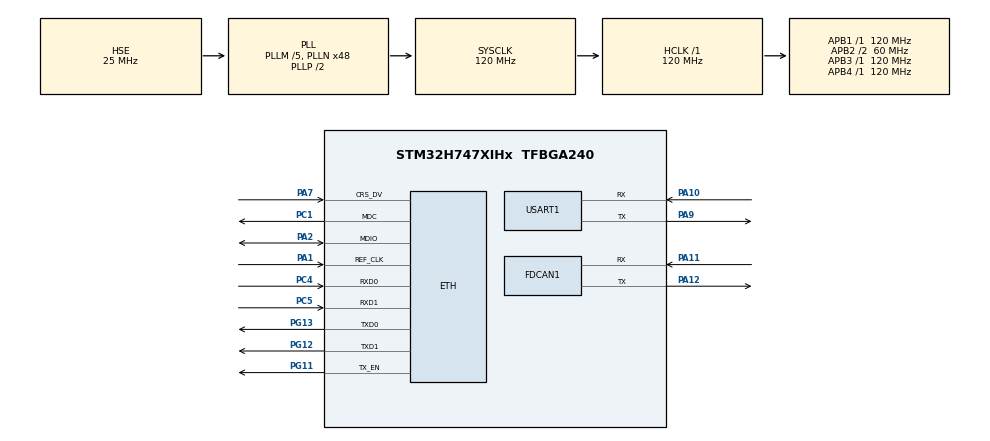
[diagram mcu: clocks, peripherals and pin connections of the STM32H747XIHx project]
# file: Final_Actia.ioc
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CortexM4.IPs=BDMA,DMA,FATFS_M4\:I,FREERTOS_M4\:I,IWDG2\:I,MDMA,NVIC2\:I,RCC,USB_DEVICE_M4\:I,USB_HOST_M4\:I,WWDG2\:I,ADC1\:I,DCMI\:I,TIM3\:I,DEBUG,PDM2PCM_M4\:I,PWR,RESMGR_UTILITY,SYS_M4\:I,CORTEX_M4\:I,OPENAMP_M4\:I,VREFBUF,GPIO
CortexM7.IPs=BDMA\:I,DMA\:I,FATFS_M7\:I,FREERTOS_M7\:I,IWDG1\:I,MDMA\:I,NVIC1\:I,RCC\:I,USB_DEVICE_M7\:I,USB_HOST_M7\:I,WWDG1\:I,CORTEX_M7\:I,DEBUG\:I,PDM2PCM_M7\:I,PWR\:I,RESMGR_UTILITY\:I,SYS\:I,OPENAMP_M7\:I,VREFBUF\:I,GPIO\:I,MEMORYMAP\:I,ETH\:I,RNG\:I,FDCAN1\:I,USART1\:I
ETH.MediaInterface=HAL_ETH_RMII_MODE
FDCAN1.AutoRetransmission=ENABLE
FDCAN1.CalculateBaudRateNominal=500000
FDCAN1.CalculateTimeBitNominal=2000
FDCAN1.CalculateTimeQuantumNominal=125.0
FDCAN1.NominalPrescaler=6
FDCAN1.NominalTimeSeg1=13
FDCAN1.NominalTimeSeg2=2
FDCAN1.RxFifo0ElmtsNbr=1
FDCAN1.StdFiltersNbr=1
FDCAN1.TxFifoQueueElmtsNbr=1
Mcu.Family=STM32H7
Mcu.Name=STM32H747XIHx
Mcu.Package=TFBGA240
NVIC1.ETH_IRQn=true\:0\:0\:false\:false\:false\:true\:true\:true
NVIC1.PriorityGroup=NVIC_PRIORITYGROUP_4
NVIC1.USART1_IRQn=true\:0\:0\:false\:false\:true\:true\:true\:true
NVIC2.PriorityGroup=NVIC_PRIORITYGROUP_4
PA1.Mode=RMII
PA1.PinAttribute=CortexM7
PA1.Signal=ETH_REF_CLK
PA10.Mode=Asynchronous
PA10.PinAttribute=CortexM7
PA10.Signal=USART1_RX
PA11.Mode=FDCAN_Activate
PA11.PinAttribute=CortexM7
PA11.Signal=FDCAN1_RX
PA12.Mode=FDCAN_Activate
PA12.PinAttribute=CortexM7
PA12.Signal=FDCAN1_TX
PA2.Mode=RMII
PA2.PinAttribute=CortexM7
PA2.Signal=ETH_MDIO
PA7.Mode=RMII
PA7.PinAttribute=CortexM7
PA7.Signal=ETH_CRS_DV
PA9.Mode=Asynchronous
PA9.PinAttribute=CortexM7
PA9.Signal=USART1_TX
PC1.Mode=RMII
PC1.PinAttribute=CortexM7
PC1.Signal=ETH_MDC
PC14-OSC32_IN\ (OSC32_IN).Mode=LSE-External-Oscillator
PC14-OSC32_IN\ (OSC32_IN).PinAttribute=Free
PC14-OSC32_IN\ (OSC32_IN).Signal=RCC_OSC32_IN
PC15-OSC32_OUT\ (OSC32_OUT).Mode=LSE-External-Oscillator
PC15-OSC32_OUT\ (OSC32_OUT).PinAttribute=Free
PC15-OSC32_OUT\ (OSC32_OUT).Signal=RCC_OSC32_OUT
PC4.Mode=RMII
PC4.PinAttribute=CortexM7
PC4.Signal=ETH_RXD0
PC5.Mode=RMII
PC5.PinAttribute=CortexM7
PC5.Signal=ETH_RXD1
PG11.Mode=RMII
PG11.PinAttribute=CortexM7
PG11.Signal=ETH_TX_EN
PG12.Mode=RMII
PG12.PinAttribute=CortexM7
PG12.Signal=ETH_TXD1
PG13.Mode=RMII
PG13.PinAttribute=CortexM7
PG13.Signal=ETH_TXD0
PH0-OSC_IN\ (PH0).Mode=HSE-External-Oscillator
PH0-OSC_IN\ (PH0).PinAttribute=Free
PH0-OSC_IN\ (PH0).Signal=RCC_OSC_IN
PH1-OSC_OUT\ (PH1).Mode=HSE-External-Oscillator
PH1-OSC_OUT\ (PH1).PinAttribute=Free
PH1-OSC_OUT\ (PH1).Signal=RCC_OSC_OUT
ProjectManager.HeapSize=M4-0x200,M7-0x200
ProjectManager.StackSize=M4-0x400,M7-0x400
ProjectManager.TargetToolchain=STM32CubeIDE
RCC.ADCFreq_Value=29296875
RCC.APB1Freq_Value=120000000
RCC.APB2Freq_Value=60000000
RCC.APB3Freq_Value=120000000
RCC.APB4Freq_Value=120000000
RCC.CortexFreq_Value=120000000
RCC.D2PPRE2=RCC_APB2_DIV2
RCC.DIVM1=5
RCC.DIVM2=4
RCC.DIVN1=48
RCC.DIVN2=9
RCC.DIVQ1=5
RCC.HCLKFreq_Value=120000000
RCC.PLL2FRACN=3072
RCC.PLLFRACN=0
RCC.PLLSourceVirtual=RCC_PLLSOURCE_HSE
RCC.PWR_Regulator_Voltage_Scale=PWR_REGULATOR_VOLTAGE_SCALE1
RCC.SYSCLKFreq_VALUE=120000000
RCC.SYSCLKSource=RCC_SYSCLKSOURCE_PLLCLK
RCC.SupplySource=PWR_DIRECT_SMPS_SUPPLY
RCC.USBFreq_Value=48000000
USART1.VirtualMode-Asynchronous=VM_ASYNC
VP_MEMORYMAP_VS_MEMORYMAP.Mode=CurAppReg
VP_RNG_VS_RNG.Mode=RNG_Activate
VP_SYS_M4_VS_Systick.Mode=SysTick
board=STM32H747I-DISCO

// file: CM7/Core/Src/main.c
/* USER CODE BEGIN Header */
/**
  ******************************************************************************
  * @file           : main.c
  * @brief          : Main program body
  ******************************************************************************
  * @attention
  *
  * Copyright (c) 2026 STMicroelectronics.
  * All rights reserved.
  *
  * This software is licensed under terms that can be found in the LICENSE file
  * in the root directory of this software component.
  * If no LICENSE file comes with this software, it is provided AS-IS.
  *
  ******************************************************************************
  */
/* USER CODE END Header */
#include "main.h"
#include "string.h"

/* USER CODE BEGIN Includes */
#include <stdio.h>
#include "mongoose.h"
#include "app_protocol.h"
/* USER CODE END Includes */

/* USER CODE BEGIN PD */

#ifndef HSEM_ID_0
#define HSEM_ID_0 (0U) /* HW semaphore 0*/
#endif

/* USER CODE END PD */

#if defined ( __ICCARM__ ) /*!< IAR Compiler */
#pragma location=0x30000000
ETH_DMADescTypeDef  DMARxDscrTab[ETH_RX_DESC_CNT]; /* Ethernet Rx DMA Descriptors */
#pragma location=0x30000080
ETH_DMADescTypeDef  DMATxDscrTab[ETH_TX_DESC_CNT]; /* Ethernet Tx DMA Descriptors */

#elif defined ( __CC_ARM )  /* MDK ARM Compiler */

__attribute__((at(0x30000000))) ETH_DMADescTypeDef  DMARxDscrTab[ETH_RX_DESC_CNT]; /* Ethernet Rx DMA Descriptors */
__attribute__((at(0x30000080))) ETH_DMADescTypeDef  DMATxDscrTab[ETH_TX_DESC_CNT]; /* Ethernet Tx DMA Descriptors */

#elif defined ( __GNUC__ ) /* GNU Compiler */

ETH_DMADescTypeDef DMARxDscrTab[ETH_RX_DESC_CNT] __attribute__((section(".RxDescripSection"))); /* Ethernet Rx DMA Descriptors */
ETH_DMADescTypeDef DMATxDscrTab[ETH_TX_DESC_CNT] __attribute__((section(".TxDescripSection")));   /* Ethernet Tx DMA Descriptors */
#endif

ETH_TxPacketConfig TxConfig;

ETH_HandleTypeDef heth;

FDCAN_HandleTypeDef hfdcan1;

RNG_HandleTypeDef hrng;

UART_HandleTypeDef huart1;

void SystemClock_Config(void);
static void MX_GPIO_Init(void);
static void MX_ETH_Init(void);
static void MX_FDCAN1_Init(void);
static void MX_RNG_Init(void);
static void MX_USART1_UART_Init(void);

/* USER CODE BEGIN 0 */

static struct mg_tcpip_if s_ifp;

/* ---- Settable sensor values (edit live via Live Expressions, or change these defaults) ---- */
static volatile uint32_t sensor1_value = 42;
static volatile uint32_t sensor2_value = 200;

/* ---- CAN <-> UDP bridging state ---- */
static FDCAN_TxHeaderTypeDef TxHeader;
static FDCAN_RxHeaderTypeDef RxHeader;
static uint8_t  RxData[8];

static struct mg_connection *s_udp_conn      = NULL;  /* the single UDP listener */
static struct mg_addr        s_pending_addr;           /* who to reply to */
static uint8_t                s_pending_sensor = 0;
static volatile uint8_t       s_can_reply_ready = 0;
static char                   s_can_reply_msg[32];

int _write(int fd, unsigned char *buf, int len) {
  if (fd == 1 || fd == 2) {
    HAL_UART_Transmit(&huart1, buf, len, 999);
  }
  return len;
}

uint64_t mg_millis(void) {
  return HAL_GetTick();
}

bool mg_random(void *buf, size_t len) {
  for (size_t n = 0; n < len; n += sizeof(uint32_t)) {
    uint32_t r;
    HAL_RNG_GenerateRandomNumber(&hrng, &r);
    memcpy((char *) buf + n, &r, n + sizeof(r) > len ? len - n : sizeof(r));
  }
  return true;
}

/* Sends a 4-byte CAN frame to the PC (visible in CAN viewer) */
static void CAN_SendToPC(uint32_t id, uint8_t *data) {
  TxHeader.Identifier          = id;
  TxHeader.IdType              = FDCAN_STANDARD_ID;
  TxHeader.TxFrameType         = FDCAN_DATA_FRAME;
  TxHeader.DataLength          = FDCAN_DLC_BYTES_4;
  TxHeader.ErrorStateIndicator = FDCAN_ESI_ACTIVE;
  TxHeader.BitRateSwitch       = FDCAN_BRS_OFF;
  TxHeader.FDFormat            = FDCAN_CLASSIC_CAN;
  TxHeader.TxEventFifoControl  = FDCAN_NO_TX_EVENTS;
  TxHeader.MessageMarker       = 0;
  if (HAL_FDCAN_AddMessageToTxFifoQ(&hfdcan1, &TxHeader, data) != HAL_OK) {
      MG_ERROR(("CAN TX failed, error=0x%lX", HAL_FDCAN_GetError(&hfdcan1)));
  } else {
      MG_INFO(("CAN TX queued OK, id=0x%lX", (unsigned long) id));
  }
}

/* Called by HAL when a CAN frame arrives from the PC (CAN viewer) */
void HAL_FDCAN_RxFifo0Callback(FDCAN_HandleTypeDef *hfdcan, uint32_t RxFifo0ITs) {
  if ((RxFifo0ITs & FDCAN_IT_RX_FIFO0_NEW_MESSAGE) == 0) return;
  if (HAL_FDCAN_GetRxMessage(hfdcan, FDCAN_RX_FIFO0, &RxHeader, RxData) != HAL_OK) return;

  uint32_t value = (s_pending_sensor == 1) ? sensor1_value : sensor2_value;
  app_response_status_t status = app_protocol_validate_response(
      RxHeader.Identifier, RxHeader.DataLength, RxData, s_pending_sensor, value);

  if (status == APP_RESPONSE_THRESHOLD_EXCEEDED) {
    uint8_t err[4] = {0, 0, 0, (uint8_t) value};
    CAN_SendToPC(APP_CAN_ALERT_ID, err);
    snprintf(s_can_reply_msg, sizeof(s_can_reply_msg),
             "ERROR sensor%d=%lu\n", s_pending_sensor, (unsigned long) value);
  } else if (status == APP_RESPONSE_OK) {
    snprintf(s_can_reply_msg, sizeof(s_can_reply_msg),
             "OK sensor%d=%lu\n", s_pending_sensor, (unsigned long) value);
  } else {
    snprintf(s_can_reply_msg, sizeof(s_can_reply_msg),
             "ERROR sensor%d\n", s_pending_sensor);
  }

  s_can_reply_ready = 1;

  /* re-arm notification (some HAL versions require this) */
  HAL_FDCAN_ActivateNotification(hfdcan, FDCAN_IT_RX_FIFO0_NEW_MESSAGE, 0);
}

static void ev_handler(struct mg_connection *c, int ev, void *ev_data) {
  if (ev == MG_EV_READ) {
    MG_INFO(("Received: %.*s", (int) c->recv.len, c->recv.buf));

    uint8_t sensor = 0;
    uint32_t can_id = 0;
    if (app_protocol_parse_request((const uint8_t *) c->recv.buf, c->recv.len,
                                   &sensor, &can_id)) {
      s_udp_conn       = c;
      s_pending_addr   = c->rem;   /* remember who sent it, for UDP reply */
      s_pending_sensor = sensor;
      uint32_t value = (sensor == 1) ? sensor1_value : sensor2_value;
      uint8_t d[4] = {0, 0, 0, (uint8_t) value};
      CAN_SendToPC(can_id, d);
    }

    mg_iobuf_del(&c->recv, 0, c->recv.len);
  } else if (ev == MG_EV_ERROR) {
    MG_ERROR(("Connection error: %s", (char *) ev_data));
  }
}

static void run_mongoose(void) {
  struct mg_mgr mgr;
  mg_mgr_init(&mgr);
  mg_log_set(MG_LL_DEBUG);

  struct mg_tcpip_driver_stm32h_data driver_data = {.mdc_cr = 4};
  memset(&s_ifp, 0, sizeof(s_ifp));
  s_ifp.mac[0] = 0x02;
  s_ifp.mac[1] = 0x00;
  s_ifp.mac[2] = 0x01;
  s_ifp.mac[3] = 0x02;
  s_ifp.mac[4] = 0x03;
  s_ifp.mac[5] = 0x05;
  s_ifp.ip   = mg_htonl(MG_U32(192, 168, 0, 10));
  s_ifp.mask = mg_htonl(MG_U32(255, 255, 255, 0));
  s_ifp.gw   = mg_htonl(MG_U32(192, 168, 0, 1));
  s_ifp.driver = &mg_tcpip_driver_stm32h;
  s_ifp.driver_data = &driver_data;

  mg_tcpip_init(&mgr, &s_ifp);

  MG_INFO(("Init done, waiting for network..."));
  while (s_ifp.state != MG_TCPIP_STATE_READY) {
    mg_mgr_poll(&mgr, 0);
  }
  MG_INFO(("Network ready, IP: %M", mg_print_ip4, &s_ifp.ip));

  struct mg_connection *lc = mg_listen(&mgr, "udp://0.0.0.0:5000", ev_handler, NULL);
  if (lc == NULL) {
    MG_ERROR(("Failed to create UDP listener!"));
  } else {
    MG_INFO(("Listening for UDP on port 5000..."));
  }

  for (;;) {
    mg_mgr_poll(&mgr, 0);

    /* Send the CAN-derived reply back over UDP, from main context (not ISR) */
    if (s_can_reply_ready && s_udp_conn != NULL) {
      s_udp_conn->rem = s_pending_addr;   /* restore who to reply to */
      mg_send(s_udp_conn, s_can_reply_msg, strlen(s_can_reply_msg));
      s_can_reply_ready = 0;
      s_udp_conn = NULL;
    }
  }
}

/* USER CODE END 0 */

int main(void)
{

/* USER CODE BEGIN Boot_Mode_Sequence_0 */
//  int32_t timeout;
/* USER CODE END Boot_Mode_Sequence_0 */

/* USER CODE BEGIN Boot_Mode_Sequence_1 */
//  /* Wait until CPU2 boots and enters in stop mode or timeout*/
//  timeout = 0xFFFF;
//  while((__HAL_RCC_GET_FLAG(RCC_FLAG_D2CKRDY) != RESET) && (timeout-- > 0));
//  if ( timeout < 0 )
//  {
//  Error_Handler();
//  }
/* USER CODE END Boot_Mode_Sequence_1 */
  /* MCU Configuration--------------------------------------------------------*/

  /* Reset of all peripherals, Initializes the Flash interface and the Systick. */
  HAL_Init();

  /* Configure the system clock */
  SystemClock_Config();
/* USER CODE BEGIN Boot_Mode_Sequence_2 */
/* When system initialization is finished, Cortex-M7 will release Cortex-M4 by means of
HSEM notification */
///*HW semaphore Clock enable*/
//__HAL_RCC_HSEM_CLK_ENABLE();
///*Take HSEM */
//HAL_HSEM_FastTake(HSEM_ID_0);
///*Release HSEM in order to notify the CPU2(CM4)*/
//HAL_HSEM_Release(HSEM_ID_0,0);
///* wait until CPU2 wakes up from stop mode */
//timeout = 0xFFFF;
//while((__HAL_RCC_GET_FLAG(RCC_FLAG_D2CKRDY) == RESET) && (timeout-- > 0));
//if ( timeout < 0 )
//{
//Error_Handler();
//}
/* USER CODE END Boot_Mode_Sequence_2 */

  /* Initialize all configured peripherals */
  MX_GPIO_Init();
  MX_ETH_Init();
  MX_FDCAN1_Init();
  MX_RNG_Init();
  MX_USART1_UART_Init();
  /* USER CODE BEGIN 2 */
  HAL_NVIC_SetPriority(FDCAN1_IT0_IRQn, 1, 0);
  HAL_NVIC_EnableIRQ(FDCAN1_IT0_IRQn);

  run_mongoose();
  /* USER CODE END 2 */

  /* Infinite loop */
  /* USER CODE BEGIN WHILE */
  while (1)
  {
	  printf("Tick: %lu\r\n", HAL_GetTick());
	  HAL_Delay(500);
    /* USER CODE END WHILE */

  }
}

void SystemClock_Config(void)
{
  RCC_OscInitTypeDef RCC_OscInitStruct = {0};
  RCC_ClkInitTypeDef RCC_ClkInitStruct = {0};

  /** Supply configuration update enable
  */
  HAL_PWREx_ConfigSupply(PWR_DIRECT_SMPS_SUPPLY);

  /** Configure the main internal regulator output voltage
  */
  __HAL_PWR_VOLTAGESCALING_CONFIG(PWR_REGULATOR_VOLTAGE_SCALE1);

  while(!__HAL_PWR_GET_FLAG(PWR_FLAG_VOSRDY)) {}

  /** Initializes the RCC Oscillators according to the specified parameters
  * in the RCC_OscInitTypeDef structure.
  */
  RCC_OscInitStruct.OscillatorType = RCC_OSCILLATORTYPE_HSI48|RCC_OSCILLATORTYPE_HSE;
  RCC_OscInitStruct.HSEState = RCC_HSE_ON;
  RCC_OscInitStruct.HSI48State = RCC_HSI48_ON;
  RCC_OscInitStruct.PLL.PLLState = RCC_PLL_ON;
  RCC_OscInitStruct.PLL.PLLSource = RCC_PLLSOURCE_HSE;
  RCC_OscInitStruct.PLL.PLLM = 5;
  RCC_OscInitStruct.PLL.PLLN = 48;
  RCC_OscInitStruct.PLL.PLLP = 2;
  RCC_OscInitStruct.PLL.PLLQ = 5;
  RCC_OscInitStruct.PLL.PLLR = 2;
  RCC_OscInitStruct.PLL.PLLRGE = RCC_PLL1VCIRANGE_2;
  RCC_OscInitStruct.PLL.PLLVCOSEL = RCC_PLL1VCOWIDE;
  RCC_OscInitStruct.PLL.PLLFRACN = 0;
  if (HAL_RCC_OscConfig(&RCC_OscInitStruct) != HAL_OK)
  {
    Error_Handler();
  }

  /** Initializes the CPU, AHB and APB buses clocks
  */
  RCC_ClkInitStruct.ClockType = RCC_CLOCKTYPE_HCLK|RCC_CLOCKTYPE_SYSCLK
                              |RCC_CLOCKTYPE_PCLK1|RCC_CLOCKTYPE_PCLK2
                              |RCC_CLOCKTYPE_D3PCLK1|RCC_CLOCKTYPE_D1PCLK1;
  RCC_ClkInitStruct.SYSCLKSource = RCC_SYSCLKSOURCE_PLLCLK;
  RCC_ClkInitStruct.SYSCLKDivider = RCC_SYSCLK_DIV1;
  RCC_ClkInitStruct.AHBCLKDivider = RCC_HCLK_DIV1;
  RCC_ClkInitStruct.APB3CLKDivider = RCC_APB3_DIV1;
  RCC_ClkInitStruct.APB1CLKDivider = RCC_APB1_DIV1;
  RCC_ClkInitStruct.APB2CLKDivider = RCC_APB2_DIV2;
  RCC_ClkInitStruct.APB4CLKDivider = RCC_APB4_DIV1;

  if (HAL_RCC_ClockConfig(&RCC_ClkInitStruct, FLASH_LATENCY_1) != HAL_OK)
  {
    Error_Handler();
  }
}

static void MX_ETH_Init(void)
{

   static uint8_t MACAddr[6];

  heth.Instance = ETH;
  MACAddr[0] = 0x00;
  MACAddr[1] = 0x80;
  MACAddr[2] = 0xE1;
  MACAddr[3] = 0x00;
  MACAddr[4] = 0x00;
  MACAddr[5] = 0x00;
  heth.Init.MACAddr = &MACAddr[0];
  heth.Init.MediaInterface = HAL_ETH_RMII_MODE;
  heth.Init.TxDesc = DMATxDscrTab;
  heth.Init.RxDesc = DMARxDscrTab;
  heth.Init.RxBuffLen = 1536;

  if (HAL_ETH_Init(&heth) != HAL_OK)
  {
    Error_Handler();
  }

  memset(&TxConfig, 0 , sizeof(ETH_TxPacketConfig));
  TxConfig.Attributes = ETH_TX_PACKETS_FEATURES_CSUM | ETH_TX_PACKETS_FEATURES_CRCPAD;
  TxConfig.ChecksumCtrl = ETH_CHECKSUM_IPHDR_PAYLOAD_INSERT_PHDR_CALC;
  TxConfig.CRCPadCtrl = ETH_CRC_PAD_INSERT;

}

static void MX_FDCAN1_Init(void)
{

  hfdcan1.Instance = FDCAN1;
  hfdcan1.Init.FrameFormat = FDCAN_FRAME_CLASSIC;
  hfdcan1.Init.Mode = FDCAN_MODE_NORMAL;
  hfdcan1.Init.AutoRetransmission = ENABLE;
  hfdcan1.Init.TransmitPause = DISABLE;
  hfdcan1.Init.ProtocolException = DISABLE;
  hfdcan1.Init.NominalPrescaler = 6;
  hfdcan1.Init.NominalSyncJumpWidth = 1;
  hfdcan1.Init.NominalTimeSeg1 = 13;
  hfdcan1.Init.NominalTimeSeg2 = 2;
  hfdcan1.Init.DataPrescaler = 1;
  hfdcan1.Init.DataSyncJumpWidth = 1;
  hfdcan1.Init.DataTimeSeg1 = 1;
  hfdcan1.Init.DataTimeSeg2 = 1;
  hfdcan1.Init.MessageRAMOffset = 0;
  hfdcan1.Init.StdFiltersNbr = 1;
  hfdcan1.Init.ExtFiltersNbr = 0;
  hfdcan1.Init.RxFifo0ElmtsNbr = 1;
  hfdcan1.Init.RxFifo0ElmtSize = FDCAN_DATA_BYTES_8;
  hfdcan1.Init.RxFifo1ElmtsNbr = 0;
  hfdcan1.Init.RxFifo1ElmtSize = FDCAN_DATA_BYTES_8;
  hfdcan1.Init.RxBuffersNbr = 0;
  hfdcan1.Init.RxBufferSize = FDCAN_DATA_BYTES_8;
  hfdcan1.Init.TxEventsNbr = 0;
  hfdcan1.Init.TxBuffersNbr = 0;
  hfdcan1.Init.TxFifoQueueElmtsNbr = 1;
  hfdcan1.Init.TxFifoQueueMode = FDCAN_TX_FIFO_OPERATION;
  hfdcan1.Init.TxElmtSize = FDCAN_DATA_BYTES_8;
  if (HAL_FDCAN_Init(&hfdcan1) != HAL_OK)
  {
    Error_Handler();
  }
  /* USER CODE BEGIN FDCAN1_Init 2 */

  FDCAN_FilterTypeDef sFilterConfig;
  sFilterConfig.IdType       = FDCAN_STANDARD_ID;
  sFilterConfig.FilterIndex  = 0;
  sFilterConfig.FilterType   = FDCAN_FILTER_MASK;
  sFilterConfig.FilterConfig = FDCAN_FILTER_TO_RXFIFO0;
  sFilterConfig.FilterID1    = 0x321;
  sFilterConfig.FilterID2    = 0x7FF;   /* exact match on 0x321 */
  if (HAL_FDCAN_ConfigFilter(&hfdcan1, &sFilterConfig) != HAL_OK) {
    Error_Handler();
  }

  if (HAL_FDCAN_ActivateNotification(&hfdcan1, FDCAN_IT_RX_FIFO0_NEW_MESSAGE, 0) != HAL_OK) {
    Error_Handler();
  }

  if (HAL_FDCAN_Start(&hfdcan1) != HAL_OK) {
    Error_Handler();
  }

  /* USER CODE END FDCAN1_Init 2 */

}

static void MX_RNG_Init(void)
{

  hrng.Instance = RNG;
  hrng.Init.ClockErrorDetection = RNG_CED_ENABLE;
  if (HAL_RNG_Init(&hrng) != HAL_OK)
  {
    Error_Handler();
  }

}

static void MX_USART1_UART_Init(void)
{

  huart1.Instance = USART1;
  huart1.Init.BaudRate = 115200;
  huart1.Init.WordLength = UART_WORDLENGTH_8B;
  huart1.Init.StopBits = UART_STOPBITS_1;
  huart1.Init.Parity = UART_PARITY_NONE;
  huart1.Init.Mode = UART_MODE_TX_RX;
  huart1.Init.HwFlowCtl = UART_HWCONTROL_NONE;
  huart1.Init.OverSampling = UART_OVERSAMPLING_16;
  huart1.Init.OneBitSampling = UART_ONE_BIT_SAMPLE_DISABLE;
  huart1.Init.ClockPrescaler = UART_PRESCALER_DIV1;
  huart1.AdvancedInit.AdvFeatureInit = UART_ADVFEATURE_NO_INIT;
  if (HAL_UART_Init(&huart1) != HAL_OK)
  {
    Error_Handler();
  }
  if (HAL_UARTEx_SetTxFifoThreshold(&huart1, UART_TXFIFO_THRESHOLD_1_8) != HAL_OK)
  {
    Error_Handler();
  }
  if (HAL_UARTEx_SetRxFifoThreshold(&huart1, UART_RXFIFO_THRESHOLD_1_8) != HAL_OK)
  {
    Error_Handler();
  }
  if (HAL_UARTEx_DisableFifoMode(&huart1) != HAL_OK)
  {
    Error_Handler();
  }

}

static void MX_GPIO_Init(void)
{

  /* GPIO Ports Clock Enable */
  __HAL_RCC_GPIOG_CLK_ENABLE();
  __HAL_RCC_GPIOA_CLK_ENABLE();
  __HAL_RCC_GPIOC_CLK_ENABLE();

}

void Error_Handler(void)
{
  __disable_irq();
  while (1)
  {
  }
}
